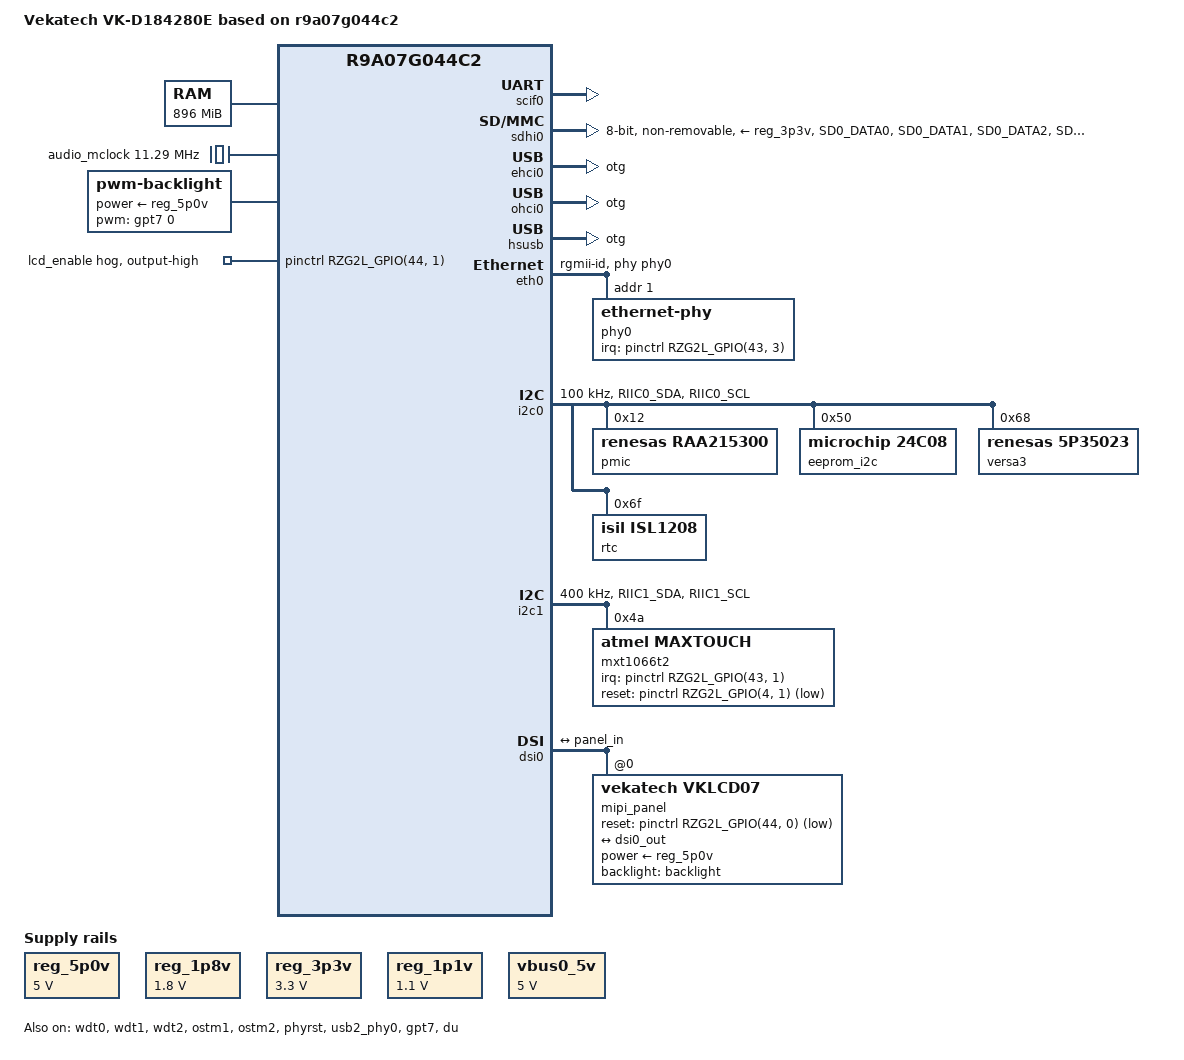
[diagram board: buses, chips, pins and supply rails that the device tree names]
// SPDX-License-Identifier: GPL-2.0
/*
 * Device Tree Source for the Vekatech (VKRZG2LC Dual Cortex-A55)
 *
 * Copyright (C) 2022 Vekatech.
 */

/dts-v1/;

#include "r9a07g044c2.dtsi"
#include <dt-bindings/gpio/gpio.h>
#include <dt-bindings/pinctrl/rzg2l-pinctrl.h>
#include <dt-bindings/input/input.h>


/ {
	model = "Vekatech VK-D184280E based on r9a07g044c2";
	compatible = "vekatech,vk-d184280e", "renesas,r9a07g044", "renesas,r9a07g044c2";

	aliases {
		ethernet0 = &eth0;
		serial0 = &scif0;
		serial1 = &scif1;
		serial2 = &scif2;
		serial3 = &scif3;
		i2c0 = &i2c0;
		i2c1 = &i2c1;
		i2c2 = &i2c2;
		i2c3 = &i2c3;
		mmc0 = &sdhi0;
	};

	chosen {
		bootargs = "ignore_loglevel";
		stdout-path = "serial0:115200n8";
	};

	memory@48000000 {
		device_type = "memory";
		/* first 128MB is reserved for secure area. */
		reg = <0x0 0x48000000 0x0 0x38000000>;
	};

	reserved-memory {
		#address-cells = <2>;
		#size-cells = <2>;
		ranges;

		global_cma: linux,cma@58000000 {
			compatible = "shared-dma-pool";
			linux,cma-default;
			reusable;
			reg = <0x0 0x58000000 0x0 0x10000000>;
		};
		mmp_reserved: linux,multimedia {
			compatible = "shared-dma-pool";
			reusable;
			reg = <0x00000000 0x68000000 0x0 0x8000000>;
		};
	};

	mmngr {
		compatible = "renesas,mmngr";
		memory-region = <&mmp_reserved>;
	};

	mmngrbuf {
		compatible = "renesas,mmngrbuf";
	};

	vspm_if {
		compatible = "renesas,vspm_if";
	};

	reg_5p0v: regulator0 {
		compatible = "regulator-fixed";
		regulator-name = "MAIN-5.0V";
		regulator-min-microvolt = <5000000>;
		regulator-max-microvolt = <5000000>;
		regulator-boot-on;
		regulator-always-on;
	};

	reg_1p8v: regulator1 {
		compatible = "regulator-fixed";
		regulator-name = "fixed-1.8V";
		regulator-min-microvolt = <1800000>;
		regulator-max-microvolt = <1800000>;
		regulator-boot-on;
		regulator-always-on;
	};

	reg_3p3v: regulator2 {
		compatible = "regulator-fixed";
		regulator-name = "fixed-3.3V";
		regulator-min-microvolt = <3300000>;
		regulator-max-microvolt = <3300000>;
		regulator-boot-on;
		regulator-always-on;
	};

	reg_1p1v: regulator-vdd-core {
		compatible = "regulator-fixed";
		regulator-name = "fixed-1.1V";
		regulator-min-microvolt = <1100000>;
		regulator-max-microvolt = <1100000>;
		regulator-boot-on;
		regulator-always-on;
	};

	vbus0_5v: regulator-vbus0-usb {
		compatible = "regulator-fixed";
		regulator-name = "USB2_VBUS0";
		regulator-min-microvolt = <5000000>;
		regulator-max-microvolt = <5000000>;
		regulator-always-on;
	};

	audio_mclock: audio_mclock {
		compatible = "fixed-clock";
		#clock-cells = <0>;
		clock-frequency = <11289600>;
	};

	backlight: backlight {
		compatible = "pwm-backlight";
		pwms = <&gpt7 0 40000 0>;
		brightness-levels = <0 8 32 64 96 128 160 192 224 255>;
		default-brightness-level = <7>;
		power-supply = <&reg_5p0v>;
		status = "okay";
	};

	x1_clk: x1-clock {
		compatible = "fixed-clock";
		#clock-cells = <0>;
		clock-frequency = <24000000>;
	};
};

&extal_clk {
	clock-frequency = <24000000>;
};

&audio_clk1{
	clock-frequency = <11289600>;
};

&audio_clk2{
	clock-frequency = <12288000>;
};

&intc_ex {
	status = "okay";
};

&gpu {
	mali-supply = <&reg_1p1v>;
};

&wdt0 {
	status = "okay";
	timeout-sec = <60>;
};

&wdt1 {
	status = "okay";
	timeout-sec = <60>;
};

&wdt2 {
	status = "okay";
	timeout-sec = <60>;
};

&ostm1 {
	status = "okay";
};

&ostm2 {
	status = "okay";
};

&scif0 {
	pinctrl-0 = <&scif0_pins>;
	pinctrl-names = "default";
	status = "okay";
};

/* for eMMC */
&sdhi0 {
	pinctrl-0 = <&sdhi0_emmc_pins>;
	pinctrl-1 = <&sdhi0_emmc_pins>;
	pinctrl-names = "default", "state_uhs";

	vmmc-supply = <&reg_3p3v>;
	vqmmc-supply = <&reg_1p8v>;
	bus-width = <8>;
	mmc-hs200-1_8v;
	non-removable;
	fixed-emmc-driver-type = <1>;
	status = "okay";
};

&ehci0 {
	memory-region = <&global_cma>;
	dr_mode = "otg";
	status = "okay";
};

&ohci0 {
	memory-region = <&global_cma>;
	dr_mode = "otg";
	status = "okay";
};

&hsusb {
	dr_mode = "otg";
	status = "okay";
};

&phyrst {
	status = "okay";
};

&usb2_phy0 {
	pinctrl-0 = <&usb0_pins>;
	pinctrl-names = "default";

	vbus-supply = <&vbus0_5v>;
	status = "okay";
};

&eth0 {
	#address-cells = <1>;
	#size-cells = <0>;
	pinctrl-names = "default";
	pinctrl-0 = <&eth0_pins>;
	phy-handle = <&phy0>;
	phy-mode = "rgmii-id";
	status = "okay";

	/* Realtek RTL8211F (0x001cc916) */
	phy0: ethernet-phy@1 {
		reg = <1>;
		interrupt-parent = <&pinctrl>;
		interrupts = <RZG2L_GPIO(43, 3) IRQ_TYPE_LEVEL_LOW>;
	};
};

&i2c0 {
	pinctrl-0 = <&i2c0_pins>;
	pinctrl-names = "default";

	clock-frequency = <100000>;
	status = "okay";

	pmic: raa215300@12 {
		compatible = "renesas,raa215300";
		reg = <0x12>;

		rtc-enable;
	};

	eeprom_i2c: eeprom_i2c@50 {
		status = "okay";
		compatible = "microchip,24c08", "atmel,24c08";
		reg = <0x50>;
		pagesize = <8>;
	};

	versa3: versa3@68 {
		compatible = "renesas,5p35023";
		reg = <0x68>;
		#clock-cells = <1>;
		clocks = <&x1_clk>;
		clock-names = "x1";
		assigned-clocks = <&versa3 0>,	/* DIFF2 Audio CLK2 */
				   		  <&versa3 1>,	/* DIFF1 ETH1/2 CLK */
						  <&versa3 2>,	/* SE3 32768Hz CLK */
					   	  <&versa3 3>,	/* SE2 Audio Master CLK */
					   	  <&versa3 4>,	/* SE1 Audio CLK1 */
					   	  <&versa3 5>;	/* REF RZ EXT */
		assigned-clock-rates =	<12288000>, <25000000>,
		                        <32768>, <12288000>,
		                        <11289600>, <24000000>;
		clock-divider-read-only = <1>, <1>, <1>, <1>, <1>;
		clock-flags = <2176>, <2176>, <2176>, <2052>, <2176>, <2048>;
	};

	rtc: isl1208@6f {
		compatible = "isil,isl1208";
		reg = <0x6f>;

		external-oscillator;
	};
};

&i2c1 {
	status = "okay";

	pinctrl-0 = <&i2c1_pins>;
	pinctrl-names = "default";
	clock-frequency = <400000>;

	mxt1066t2: mxt1066t2_ts@4a {
		compatible = "atmel,maxtouch";
		reg = <0x4a>;

		status = "okay";

		interrupt-parent = <&pinctrl>;
		interrupts = <RZG2L_GPIO(43, 1) IRQ_TYPE_LEVEL_LOW>;
		irq-gpios = <&pinctrl RZG2L_GPIO(43, 1) GPIO_ACTIVE_HIGH>;   /* DSI_TS_nINT */
		reset-gpios = <&pinctrl RZG2L_GPIO(4, 1) GPIO_ACTIVE_LOW>;
	};
};

&gpt7 {
	pinctrl-0 = <&gpt7_pins>;
	pinctrl-names = "default";
	channel="channel_A";
	status = "okay";
};

&dsi0 {
	status = "okay";
	#address-cells = <1>;
	#size-cells = <0>;

	ports {
		port@1 {
			dsi0_out: endpoint {
				remote-endpoint = <&panel_in>;
			};
		};
	};

	mipi_panel: panel@0 {
		status = "okay";
		power-supply = <&reg_5p0v>;
		reg = <0>;
		backlight = <&backlight>;
		compatible = "vekatech,vklcd07","fitipower,ek79007ad";

		reset-gpios = <&pinctrl RZG2L_GPIO(44, 0) GPIO_ACTIVE_LOW>;

		lcd-model = "vklcd07";
		dsi-lanes = <4>;
		port {
			panel_in: endpoint {
				remote-endpoint = <&dsi0_out>;
			};
		};
	};
};

&du {
	status = "okay";
};

&sbc {
	status = "disabled";

	flash@0 {
		compatible = "mxicy,mx25l51245g", "jedec,spi-nor";
		spi-max-frequency = <50000000>;
		reg = <0>;
		spi-rx-bus-width = <4>;
		spi-tx-bus-width = <4>;
		m25p,fast-read;

		partitions {
			compatible = "fixed-partitions";
			#address-cells = <1>;
			#size-cells = <1>;

			partition@000000 {
				label = "bl2";
				reg = <0x00000000 0x0001D200>;
				read-only;
			};
			partition@01D200 {
				label = "fip";
				reg = <0x0001D200 0x001C2E00>;
				read-only;
			};
			partition@1E0000 {
				label = "env";
				reg = <0x001E0000 0x00020000>;
				read-only;
			};
			partition@200000 {
				label = "qspi-area";
				reg = <0x00200000 0x03E00000>;
			};
		};

	};
};

&pinctrl {
	//pinctrl-0 = <&sound_clk_pins>;
	pinctrl-names = "default";

	scif0_pins: scif0 {
		pinmux = <RZG2L_PORT_PINMUX(38, 0, 1)>,	/* TxD */
			 <RZG2L_PORT_PINMUX(38, 1, 1)>;	/* RxD */
	};

	i2c0_pins: i2c0 {
		pins = "RIIC0_SDA", "RIIC0_SCL";
		input-enable;
	};

	i2c1_pins: i2c1 {
		pins = "RIIC1_SDA", "RIIC1_SCL";
		input-enable;
	};

	lcd-en-hog {
		gpio-hog;
		gpios = <RZG2L_GPIO(44, 1) GPIO_ACTIVE_HIGH>;
		output-high;
		line-name = "lcd_enable";
	};

	eth0_pins: eth0 {
		pinmux = <RZG2L_PORT_PINMUX(28, 1, 1)>, /* ET0_LINKSTA */
			 <RZG2L_PORT_PINMUX(27, 1, 1)>, /* ET0_MDC */
			 <RZG2L_PORT_PINMUX(28, 0, 1)>, /* ET0_MDIO */
			 <RZG2L_PORT_PINMUX(20, 0, 1)>, /* ET0_TXC */
			 <RZG2L_PORT_PINMUX(20, 1, 1)>, /* ET0_TX_CTL */
			 <RZG2L_PORT_PINMUX(20, 2, 1)>, /* ET0_TXD0 */
			 <RZG2L_PORT_PINMUX(21, 0, 1)>, /* ET0_TXD1 */
			 <RZG2L_PORT_PINMUX(21, 1, 1)>, /* ET0_TXD2 */
			 <RZG2L_PORT_PINMUX(22, 0, 1)>, /* ET0_TXD3 */
			 <RZG2L_PORT_PINMUX(24, 0, 1)>, /* ET0_RXC */
			 <RZG2L_PORT_PINMUX(24, 1, 1)>, /* ET0_RX_CTL */
			 <RZG2L_PORT_PINMUX(25, 0, 1)>, /* ET0_RXD0 */
			 <RZG2L_PORT_PINMUX(25, 1, 1)>, /* ET0_RXD1 */
			 <RZG2L_PORT_PINMUX(26, 0, 1)>, /* ET0_RXD2 */
			 <RZG2L_PORT_PINMUX(26, 1, 1)>; /* ET0_RXD3 */
	};

	usb0_pins: usb0 {
		pinmux = <RZG2L_PORT_PINMUX(4, 0, 1)>, /* VBUS */
			 <RZG2L_PORT_PINMUX(5, 0, 1)>; /* OVC */
	};

	gpt7_pins: gpt7 {
		pinmux = <RZG2L_PORT_PINMUX(44, 2, 5)>; /* Channel A */
	};

	sdhi0_emmc_pins: sd0emmc {
		sd0_emmc_data {
			pins = "SD0_DATA0", "SD0_DATA1", "SD0_DATA2", "SD0_DATA3",
			       "SD0_DATA4", "SD0_DATA5", "SD0_DATA6", "SD0_DATA7";
			power-source = <1800>;
		};

		sd0_emmc_ctrl {
			pins = "SD0_CLK", "SD0_CMD";
			power-source = <1800>;
		};

		sd0_emmc_rst {
			pins = "SD0_RST#";
			power-source = <1800>;
		};
	};
};
